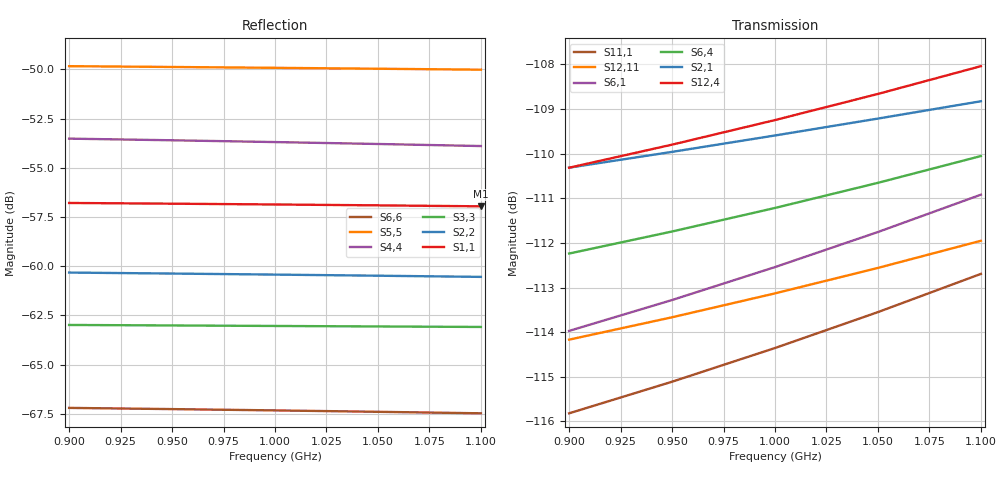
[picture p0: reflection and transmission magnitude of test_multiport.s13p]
! Touchstone file from project test_multiport
! Exported from HFSS 2019.2.0
!Data is not renormalized
# GHZ S MA
! Modal data exported
! Port[1] = 1:1
! Port[2] = 2:1
! Port[3] = 3:1
! Port[4] = 4:1
! Port[5] = 5:1
! Port[6] = 6:1
! Port[7] = 7:1
! Port[8] = 8:1
! Port[9] = 9:1
! Port[10] = 10:1
! Port[11] = 11:1
! Port[12] = 12:1
! Port[13] = 13:1
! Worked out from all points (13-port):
!   5 points, 900 MHz to 1.1 GHz, reference per port
!   strongest paths, dB at 900 MHz, 950 MHz, 1 GHz, 1.05 GHz, 1.1 GHz:
!     S12,4: -110.3, -109.8, -109.2, -108.7, -108.0
!     S2,1: -110.3, -110.0, -109.6, -109.2, -108.8
!     S6,4: -112.2, -111.7, -111.2, -110.7, -110.1
!     S6,1: -114.0, -113.3, -112.5, -111.8, -110.9
!     S12,11: -114.2, -113.7, -113.1, -112.6, -112.0
!     S11,1: -115.8, -115.1, -114.4, -113.6, -112.7
!   lowest |S11| = -57.0 dB at 1.1 GHz (marker M1), VSWR 1.00
!   |S11| at or under -10 dB: start of sweep to end of sweep
